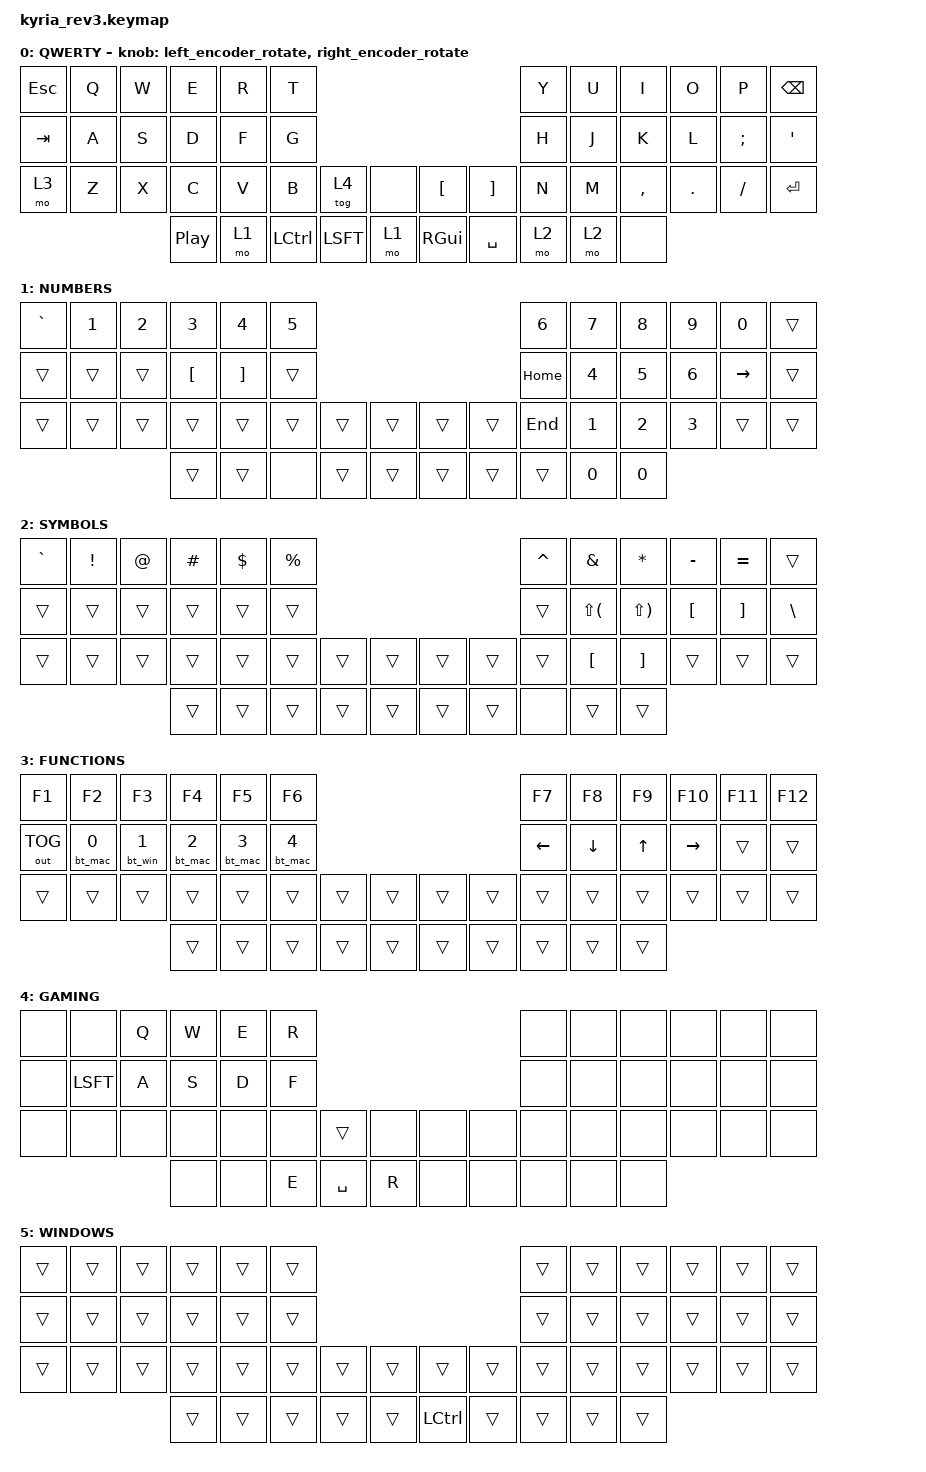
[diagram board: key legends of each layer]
/*
 * Copyright (c) 2023 The ZMK Contributors
 *
 * SPDX-License-Identifier: MIT
 */

#include <behaviors.dtsi>
#include <dt-bindings/zmk/keys.h>
#include <dt-bindings/zmk/bt.h>
#include <dt-bindings/zmk/outputs.h>
#include <dt-bindings/zmk/mouse.h>
#include <dt-bindings/zmk/pointing.h>

&mt {
    tapping-term-ms = <200>;
};

&sensors {
    left_config {
        triggers-per-rotation = <36>;
    };

    right_config {
        triggers-per-rotation = <30>;
    };
};

/ {
    behaviors {
        left_encoder_rotate: left_encoder_rotate {
            compatible = "zmk,behavior-sensor-rotate";
            #sensor-binding-cells = <0>;
            bindings = <&kp PG_DN>, <&kp PG_UP>;
        };

        right_encoder_rotate: right_encoder_rotate {
            compatible = "zmk,behavior-sensor-rotate";
            #sensor-binding-cells = <0>;
            bindings = <&kp C_VOL_UP>, <&kp C_VOL_DN>;
        };
    };

    macros {
        bt_mac: bt_mac {
            compatible = "zmk,behavior-macro-one-param";
            #binding-cells = <1>;
            bindings = <&to 0>, <&macro_param_1to1>, <&bt BT_SEL MACRO_PLACEHOLDER>;
        };

        bt_win: bt_win {
            compatible = "zmk,behavior-macro-one-param";
            #binding-cells = <1>;
            bindings = <&to 5>, <&macro_param_1to1>, <&bt BT_SEL MACRO_PLACEHOLDER>;
        };
    };

    keymap {
        compatible = "zmk,keymap";

        default_layer {
            bindings = <
&kp ESC  &kp Q  &kp W  &kp E     &kp R  &kp T                                                    &kp Y       &kp U  &kp I      &kp O    &kp P     &kp BSPC
&kp TAB  &kp A  &kp S  &kp D     &kp F  &kp G                                                    &kp H       &kp J  &kp K      &kp L    &kp SEMI  &kp SQT
&mo 3    &kp Z  &kp X  &kp C     &kp V  &kp B       &tog 4     &none         &kp LBKT    &kp RBKT      &kp N       &kp M  &kp COMMA  &kp DOT  &kp FSLH  &kp ENTER
                       &kp C_PP  &mo 1  &kp LCTL  &kp LSFT  &mo 1  &kp RGUI  &kp SPACE  &mo 2  &mo 2  &none
            >;

            sensor-bindings = <&left_encoder_rotate &right_encoder_rotate>;
            display-name = "QWERTY";
        };

        NUMBERS {
            bindings = <
&kp GRAVE  &kp N1  &kp N2  &kp N3    &kp N4    &kp N5                                  &kp N6  &kp N7  &kp N8  &kp N9  &kp N0     &trans
&trans     &trans  &trans  &kp LBKT  &kp RBKT  &trans                                  &kp HOME      &kp N4  &kp N5  &kp N6  &kp RIGHT  &trans
&trans     &trans  &trans  &trans    &trans    &trans  &trans  &trans  &trans  &trans  &kp END       &kp N1  &kp N2  &kp N3  &trans     &trans
                           &trans    &trans    &none   &trans  &trans   &trans  &trans  &trans        &kp N0  &kp N0
            >;

            display-name = "NUMBERS";
        };

        SYMBOLS {
            bindings = <
&kp GRAVE  &kp EXCL  &kp AT  &kp HASH  &kp DLLR  &kp PRCNT                                  &kp CARET  &kp AMPS      &kp ASTRK     &kp MINUS  &kp EQUAL  &trans
&trans     &trans    &trans  &trans    &trans    &trans                                     &trans     &kp LS(LPAR)  &kp LS(RPAR)  &kp LBKT   &kp RBKT   &kp BSLH
&trans     &trans    &trans  &trans    &trans    &trans     &trans  &trans  &trans  &trans  &trans     &kp LBKT      &kp RBKT      &trans     &trans     &trans
                             &trans    &trans    &trans     &trans  &trans  &trans  &trans  &none      &trans        &trans
            >;

            display-name = "SYMBOLS";
        };

        FUNCTION {
            bindings = <
&kp F1        &kp F2        &kp F3        &kp F4        &kp F5        &kp F6                                        &kp F7    &kp F8          &kp F9        &kp F10    &kp F11  &kp F12
&out OUT_TOG  &bt_mac 0     &bt_win 1     &bt_mac 2     &bt_mac 3     &bt_mac 4                                     &kp LEFT  &kp DOWN        &kp UP        &kp RIGHT  &trans   &trans
&trans        &trans        &trans        &trans        &trans        &trans        &trans  &trans  &trans  &trans  &trans    &trans          &trans        &trans     &trans   &trans
                                          &trans        &trans        &trans        &trans  &trans  &trans  &trans  &trans    &trans          &trans
            >;

            display-name = "FUNCTIONS";
        };

        GAMING {
            bindings = <
&none  &none      &kp Q  &kp W  &kp E  &kp R                                  &none  &none  &none  &none  &none  &none
&none  &kp LSFT  &kp A  &kp S  &kp D  &kp F                                  &none  &none  &none  &none  &none  &none
&none  &none      &none  &none  &none  &none  &trans     &none  &none  &none  &none  &none  &none  &none  &none  &none
                         &none  &none  &kp E  &kp SPACE  &kp R  &none  &none  &none  &none  &none
            >;

            display-name = "GAMING";
        };

        WINDOWS {
            bindings = <
&trans  &trans  &trans  &trans   &trans  &trans                                                  &trans     &trans  &trans  &trans  &trans  &trans
&trans  &trans  &trans  &trans   &trans  &trans                                                  &trans     &trans  &trans  &trans  &trans  &trans
&trans  &trans  &trans  &trans   &trans  &trans  &trans  &trans     &trans      &trans           &trans     &trans  &trans  &trans  &trans  &trans
                        &trans   &trans  &trans  &trans  &trans  &kp LCTRL  &trans  &trans  &trans  &trans
            >;

            display-name = "WINDOWS";
        };
    };
};
